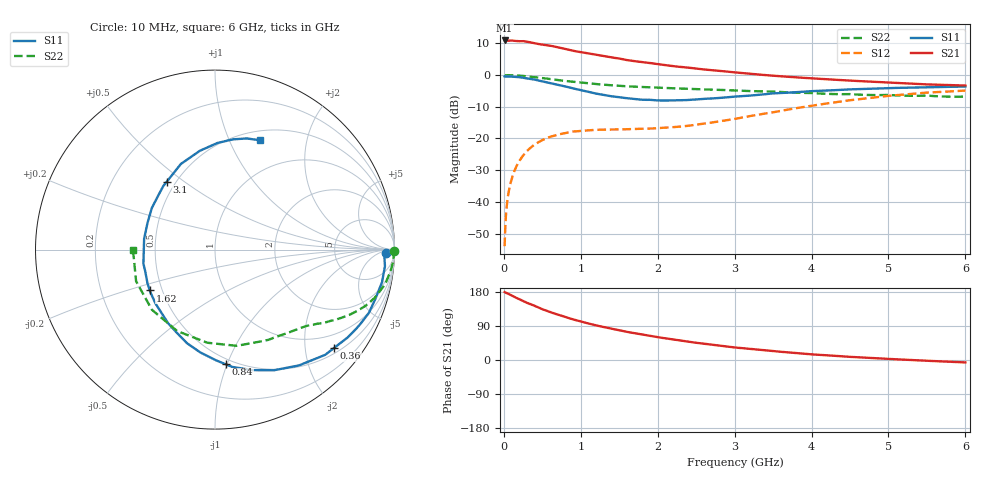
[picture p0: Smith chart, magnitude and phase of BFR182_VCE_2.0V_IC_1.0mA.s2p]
! Infineon Technologies  Discrete & RF Semiconductors
! BFR182
! VCE =  2.0 V,  IC =  1.0 mA
! Common Emitter S-Parameters:  Nov 2015
# GHz  S  MA  R  50
!  f  S11  S21  S12  S22
! GHz  MAG  ANG  MAG  ANG  MAG  ANG  MAG  ANG
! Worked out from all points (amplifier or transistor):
!   210 points, 10 MHz to 6 GHz, reference 50 ohm
!   highest |S21| = 10.9 dB at 10 MHz (marker M1)
!   |S21| within 3 dB of that: start of sweep to 852.9 MHz
!   unconditionally stable (mu >= 1): 1.761 GHz to 3.3 GHz
!   at 185 MHz: K = 0.12, MSG = 19.2 dB, |S12| = -27.8 dB
!   at 1.52 GHz: K = 0.88, MSG = 11.1 dB, |S12| = -17.1 dB
!   at 6 GHz: K = 0.95, MSG = 0.8 dB, |S12| = -4.9 dB
!   S11 on the Smith chart (normalised r, x): 10 MHz: 34, -14; 360 MHz: 0.63, -2.65; 840 MHz: 0.45, -0.99; 1.62 GHz: 0.43, -0.24; 3.1 GHz: 0.45, +0.43; 6 GHz: 0.61, +1.30
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0.01  0.951 -1.2  3.511 179.3  0.002 90.8  0.9988 -0.4
0.02  0.9442 -2.1  3.49 178.0  0.0043 87.9  0.9898 -1.0
0.04  0.9486 -4.4  3.481 176.3  0.0091 86.4  0.9941 -1.9
0.06  0.95 -6.7  3.482 174.5  0.0137 85.5  0.9954 -2.8
0.095  0.948 -10.5  3.505 171.3  0.0214 84.3  0.9925 -4.4
0.16  0.9326 -18.1  3.441 164.1  0.0356 78.1  0.9839 -7.3
0.26  0.9018 -29.3  3.421 154.7  0.0556 71.9  0.9652 -11.6
0.3  0.8862 -33.6  3.368 150.9  0.0633 69.6  0.9538 -13.3
0.36  0.8605 -39.6  3.245 146.3  0.0735 65.9  0.9384 -15.4
0.5  0.7974 -54.0  3.02 134.0  0.0941 58.7  0.8978 -20.2
0.6  0.7484 -63.9  2.912 126.5  0.1059 54.0  0.8646 -23.2
0.7  0.703 -72.8  2.755 119.6  0.1147 50.1  0.8336 -25.8
0.84  0.6422 -84.6  2.507 110.8  0.1246 45.3  0.7968 -28.6
1.02  0.5711 -99.7  2.285 100.5  0.1322 41.1  0.7558 -31.7
1.24  0.499 -117.8  2.052 89.5  0.1371 37.9  0.7144 -35.2
1.62  0.4286 -147.9  1.708 73.5  0.1399 37.3  0.6632 -40.0
2.02  0.3975 -177.1  1.476 59.5  0.1457 41.3  0.6311 -45.4
2.4  0.4044 158.4  1.308 48.0  0.1585 47.7  0.6052 -51.6
3.1  0.4643 125.3  1.074 31.3  0.2142 55.1  0.5644 -66.2
4.1  0.563 96.6  0.872 13.7  0.342 51.4  0.5116 -98.6
5.1  0.6264 79.2  0.751 1.9  0.4806 37.3  0.4778 -140.5
6  0.6585 67.7  0.683 -6.4  0.5691 21.1  0.4565 -179.5
